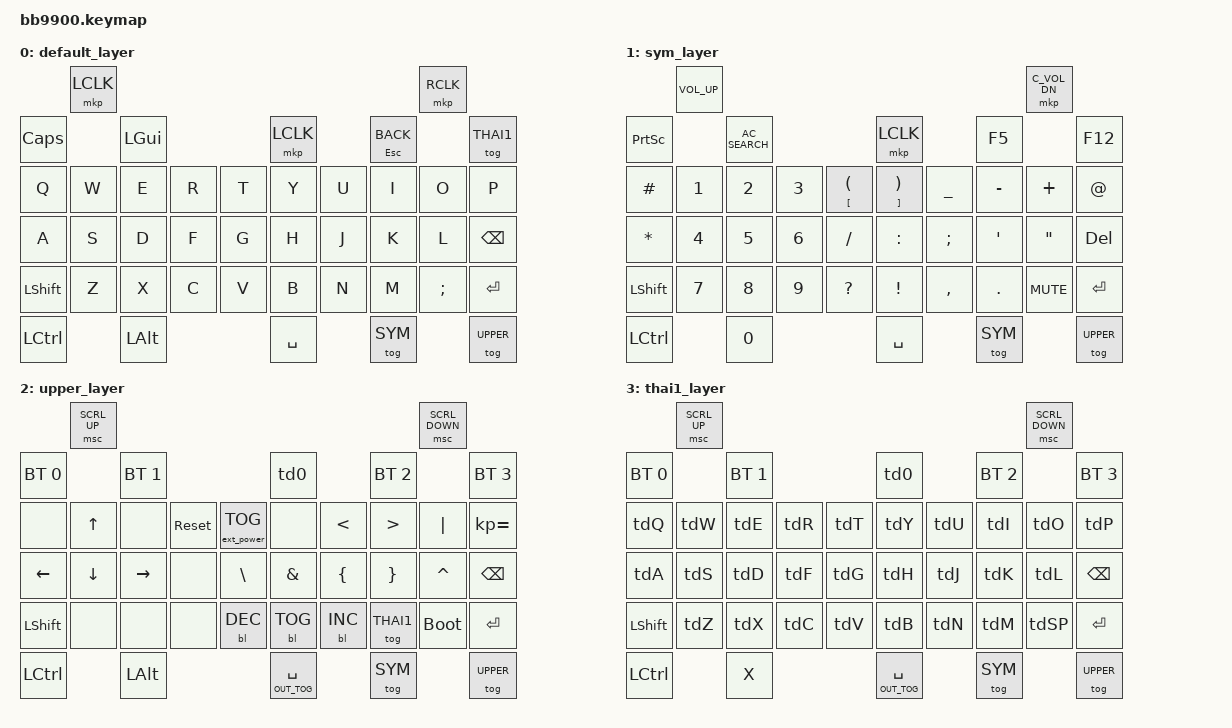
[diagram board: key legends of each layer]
/*
 * Copyright (c) 2023 ZitaoTech
 *
 * SPDX-License-Identifier: MIT
 */

#include <behaviors.dtsi>
#include <dt-bindings/zmk/keys.h>
#include <dt-bindings/zmk/bt.h>
#include <dt-bindings/zmk/outputs.h>
#include <dt-bindings/zmk/mouse.h>
#include <dt-bindings/zmk/backlight.h>
#include <dt-bindings/zmk/ext_power.h>


#define SYM 1
#define UPPER 2
#define THAI1 3
#define THAI2 4
#define THAI3 5

/ {
    behaviors {
        td0: tap_dance_0 {
            compatible = "zmk,behavior-tap-dance";
            #binding-cells = <0>;
            tapping-term-ms = <400>;
            bindings = <&mkp LCLK>, <&bt BT_CLR>;
        };
    };
// --------------------------------------------
    behaviors {
        tdQ: tap_dance_Q {
            compatible = "zmk,behavior-tap-dance";
            #binding-cells = <0>;
            tapping-term-ms = <400>;
            bindings = <&kp W>, <&kp Q>;
        };
    };

    behaviors {
        tdW: tap_dance_W {
            compatible = "zmk,behavior-tap-dance";
            #binding-cells = <0>;
            tapping-term-ms = <400>;
            bindings = <&kp E>, <&kp LS(R)>, <&kp NUMBER_4>;
        };
    };

    behaviors {
        tdE: tap_dance_E {
            compatible = "zmk,behavior-tap-dance";
            #binding-cells = <0>;
            tapping-term-ms = <400>;
            bindings = <&kp R>, <&kp NUMBER_5>, <&kp LS(E)>;
        };
    };

    behaviors {
        tdR: tap_dance_R {
            compatible = "zmk,behavior-tap-dance";
            #binding-cells = <0>;
            tapping-term-ms = <400>;
            bindings = <&kp T>, <&kp NUMBER_6>, <&kp LS(T)>;
        };
    };

    behaviors {
        tdT: tap_dance_T {
            compatible = "zmk,behavior-tap-dance";
            #binding-cells = <0>;
            tapping-term-ms = <400>;
            bindings = <&kp Y>, <&kp NUMBER_7>, <&kp LS(NUMBER_6)>;
        };
    };

    behaviors {
        tdY: tap_dance_Y {
            compatible = "zmk,behavior-tap-dance";
            #binding-cells = <0>;
            tapping-term-ms = <400>;
            bindings = <&kp NUMBER_8>, <&kp U>;
        };
    };

    behaviors {
        tdU: tap_dance_U {
            compatible = "zmk,behavior-tap-dance";
            #binding-cells = <0>;
            tapping-term-ms = <400>;
            bindings = <&kp I>, <&kp NUMBER_9>, <&kp LS(I)>;
        };
    };

    behaviors {
        tdI: tap_dance_I {
            compatible = "zmk,behavior-tap-dance";
            #binding-cells = <0>;
            tapping-term-ms = <400>;
            bindings = <&kp O>, <&kp NUMBER_0>, <&kp Q>;
        };
    };

    behaviors {
        tdO: tap_dance_O {
            compatible = "zmk,behavior-tap-dance";
            #binding-cells = <0>;
            tapping-term-ms = <400>;
            bindings = <&kp P>, <&kp MINUS>, <&kp LS(P)>;
        };
    };

    behaviors {
        tdP: tap_dance_P {
            compatible = "zmk,behavior-tap-dance";
            #binding-cells = <0>;
            tapping-term-ms = <400>;
            bindings = <&kp LBKT>, <&kp EQUAL>, <&kp LS(LBKT)>;
        };
    };

// ---------------------------------------------------------
    behaviors {
        tdA: tap_dance_A {
            compatible = "zmk,behavior-tap-dance";
            #binding-cells = <0>;
            tapping-term-ms = <400>;
            bindings = <&kp A>, <&kp S>, <&kp LS(A)>;
        };
    };
    behaviors {
        tdS: tap_dance_S {
            compatible = "zmk,behavior-tap-dance";
            #binding-cells = <0>;
            tapping-term-ms = <400>;
            bindings = <&kp D>, <&kp F>, <&kp LS(D)>;
        };
    };
    behaviors {
        tdD: tap_dance_D {
            compatible = "zmk,behavior-tap-dance";
            #binding-cells = <0>;
            tapping-term-ms = <400>;
            bindings = <&kp G>, <&kp LS(F)>;
        };
    };
    behaviors {
        tdF: tap_dance_F {
            compatible = "zmk,behavior-tap-dance";
            #binding-cells = <0>;
            tapping-term-ms = <400>;
            bindings = <&kp H>, <&kp LS(H)>;
        };
    };
    behaviors {
        tdG: tap_dance_G {
            compatible = "zmk,behavior-tap-dance";
            #binding-cells = <0>;
            tapping-term-ms = <400>;
            bindings = <&kp J>, <&kp LS(J)>;
        };
    };
    behaviors {
        tdH: tap_dance_H {
            compatible = "zmk,behavior-tap-dance";
            #binding-cells = <0>;
            tapping-term-ms = <400>;
            bindings = <&kp K>, <&kp LS(U)>;
        };
    };
    behaviors {
        tdJ: tap_dance_J {
            compatible = "zmk,behavior-tap-dance";
            #binding-cells = <0>;
            tapping-term-ms = <400>;
            bindings = <&kp L>, <&kp LS(K)>;
        };
    };
    behaviors {
        tdK: tap_dance_K {
            compatible = "zmk,behavior-tap-dance";
            #binding-cells = <0>;
            tapping-term-ms = <400>;
            bindings = <&kp SEMICOLON>, <&kp LS(L)>;
        };
    };
    behaviors {
        tdL: tap_dance_L {
            compatible = "zmk,behavior-tap-dance";
            #binding-cells = <0>;
            tapping-term-ms = <400>;
            bindings = <&kp APOS>, <&kp LS(SEMICOLON)>;
        };
    };
// --------------------------------------------
    behaviors {
        tdZ: tap_dance_Z {
            compatible = "zmk,behavior-tap-dance";
            #binding-cells = <0>;
            tapping-term-ms = <400>;
            bindings = <&kp Z>, <&kp LS(S)>;
        };
    };
    behaviors {
        tdX: tap_dance_X {
            compatible = "zmk,behavior-tap-dance";
            #binding-cells = <0>;
            tapping-term-ms = <400>;
            bindings = <&kp C>, <&kp LS(G)>;
        };
    };
    behaviors {
        tdC: tap_dance_C {
            compatible = "zmk,behavior-tap-dance";
            #binding-cells = <0>;
            tapping-term-ms = <400>;
            bindings = <&kp V>, <&kp LS(C)>;
        };
    };
    behaviors {
        tdV: tap_dance_V {
            compatible = "zmk,behavior-tap-dance";
            #binding-cells = <0>;
            tapping-term-ms = <400>;
            bindings = <&kp B>, <&kp LS(V)>;
        };
    };
    behaviors {
        tdB: tap_dance_B {
            compatible = "zmk,behavior-tap-dance";
            #binding-cells = <0>;
            tapping-term-ms = <400>;
            bindings = <&kp N>, <&kp LS(B)>;
        };
    };
    behaviors {
        tdN: tap_dance_N {
            compatible = "zmk,behavior-tap-dance";
            #binding-cells = <0>;
            tapping-term-ms = <400>;
            bindings = <&kp M>, <&kp COMMA>, <&kp LS(N)>;
        };
    };
    behaviors {
        tdM: tap_dance_M {
            compatible = "zmk,behavior-tap-dance";
            #binding-cells = <0>;
            tapping-term-ms = <400>;
            bindings = <&kp DOT>, <&kp LS(DOT)>, <&kp LS(COMMA)>;
        };
    };
    behaviors {
        tdSP: tap_dance_SP {
            compatible = "zmk,behavior-tap-dance";
            #binding-cells = <0>;
            tapping-term-ms = <400>;
            bindings = <&kp RBKT>, <&kp SLASH>;
        };
    };


// ---------------------------------------------

    behaviors {
        hm: homerow_mods {
            compatible = "zmk,behavior-hold-tap";
            #binding-cells = <2>;
            tapping-term-ms = <500>;
            bindings = <&out &kp>;
        };
    };

    keymap {
        compatible = "zmk,keymap";

        default_layer {

            bindings = <
//         --------------------------------------------------------------------------------------------------------------------------         
//         |    Shoulder Key1    |                                                                             |    Shoulder Key2    |     
// |         Call key      |      Blackberry Key        |    Trackpad    |             Back Key                |             Endcall Key          |
// |     Q      |     W    |     E    |     R    |      T      |       Y        |       U        |        I        |       O      |      P        |     
// |     A      |     S    |     D    |     F    |      G      |       H        |       J        |        K        |       L      |      ←        |  
// |     alt    |     Z    |     X    |     C    |      V      |       B        |       N        |        M        |       $      |    Enter      |   
//        |         aA     |         0           |           SPACE              |         SYM         |        aA          |       
//        -----------------------------------------------------------------------------------------------------------------

                 &mkp LCLK                                                                                          &mkp RCLK
    &kp CLCK                &kp LGUI                            &mkp LCLK                          &mt ESC K_BACK                    &tog THAI1
    &kp Q        &kp W      &kp E       &kp R     &kp T         &kp Y             &kp U            &kp I            &kp O            &kp P
    &kp A        &kp S      &kp D       &kp F     &kp G         &kp H             &kp J            &kp K            &kp L            &kp BSPC
    &kp LSHFT    &kp Z      &kp X       &kp C     &kp V         &kp B             &kp N            &kp M            &kp SEMI         &kp ENTER
    &kp LCTRL               &kp LALT                            &kp SPACE                          &tog SYM                          &tog UPPER
            >;
        };


        sym_layer {

            bindings = <        
                 &kp C_VOL_UP                                                                                       &mkp C_VOL_DN
    &kp PSCRN               &kp C_AC_SEARCH                     &mkp LCLK                          &kp F5                            &kp F12 
    &kp HASH     &kp N1     &kp N2      &kp N3    &mt LBKT LPAR &mt RBKT RPAR     &kp UNDER        &kp MINUS        &kp PLUS         &kp AT
    &kp STAR     &kp N4     &kp N5      &kp N6    &kp SLASH     &kp COLON         &kp SEMI         &kp APOS         &kp DQT          &kp DEL
    &kp LSHFT    &kp N7     &kp N8      &kp N9    &kp QMARK     &kp EXCL          &kp COMMA        &kp DOT          &kp C_MUTE       &kp ENTER
    &kp LCTRL               &kp N0                              &kp SPACE                          &tog SYM                          &tog UPPER
            >;
        };

        upper_layer {

            bindings = <
                 &msc SCRL_UP                                                                                       &msc SCRL_DOWN
    &bt BT_SEL 0            &bt BT_SEL 1                             &td0                           &bt BT_SEL 2                     &bt BT_SEL 3
    &none        &kp UP     &none       &sys_reset &ext_power EP_TOG &none         &kp LT           &kp GT          &kp PIPE         &kp KP_EQUAL
    &kp LEFT     &kp DOWN   &kp RIGHT   &none      &kp BSLH          &kp AMPS      &kp LBRC         &kp RBRC        &kp CARET        &kp BSPC
    &kp LSHFT    &none      &none       &none      &bl BL_DEC        &bl BL_TOG    &bl BL_INC       &tog THAI1      &bootloader      &kp ENTER
    &kp LCTRL               &kp LALT                                 &hm OUT_TOG SPACE              &tog SYM                         &tog UPPER
            >;  
        };

        thai1_layer {
            bindings = <
                 &msc SCRL_UP                                                                                       &msc SCRL_DOWN
    &bt BT_SEL 0            &bt BT_SEL 1                             &td0                           &bt BT_SEL 2                     &bt BT_SEL 3
    &tdQ         &tdW       &tdE        &tdR       &tdT              &tdY          &tdU             &tdI            &tdO             &tdP
    &tdA         &tdS       &tdD        &tdF       &tdG              &tdH          &tdJ             &tdK            &tdL             &kp BSPC
    &kp LSHFT    &tdZ       &tdX        &tdC       &tdV              &tdB          &tdN             &tdM            &tdSP           &kp ENTER
    &kp LCTRL               &kp X                                 &hm OUT_TOG SPACE              &tog SYM                         &tog UPPER
            >;  
        };

    };
};
